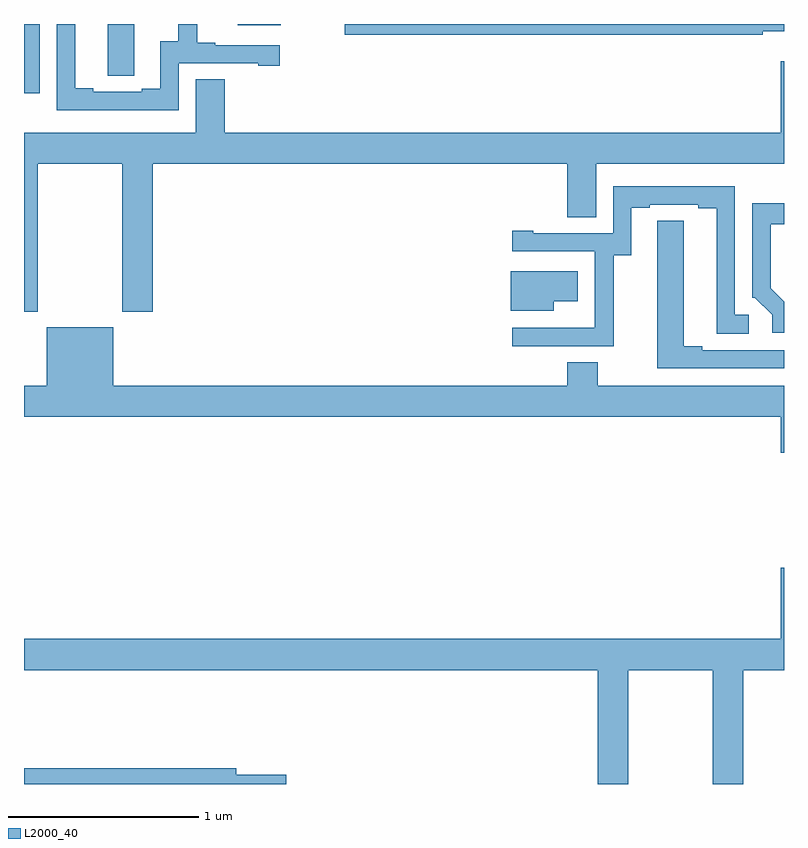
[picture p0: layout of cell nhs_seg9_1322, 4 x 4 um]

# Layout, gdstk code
import gdstk
lib = gdstk.Library(unit=1e-6, precision=1e-09)
def R(c, l, rs):  # rectangles x0, y0, x1, y1
    for r in rs: c.add(gdstk.rectangle(r[:2], r[2:], *l))
def P(c, l, *ps):  # polygons
    for p in ps: c.add(gdstk.Polygon(p, *l))
L2000_40 = (2000, 40)

nhs_seg9_1322 = lib.new_cell('nhs_seg9_1322')
R(nhs_seg9_1322, L2000_40, [(185,1186.136,185.082,1186.5), (186.125,1186.493,186.352,1186.5)])
P(nhs_seg9_1322, L2000_40, [(188.888,1186.463),(189,1186.463),(189,1186.5),(186.687,1186.5),(186.687,1186.444),(188.888,1186.444)],
  [(185.814,1186.293),(186.233,1186.293),(186.233,1186.281),(186.346,1186.281),(186.346,1186.389),(186.007,1186.389),(186.007,1186.402),(185.912,1186.402),(185.912,1186.5),(185.812,1186.5),(185.812,1186.409),(185.717,1186.409),(185.717,1186.158),(185.621,1186.158),(185.621,1186.143),(185.365,1186.143),(185.365,1186.163),(185.269,1186.163),(185.269,1186.5),(185.172,1186.5),(185.172,1186.047),(185.814,1186.047)],
  [(185.58,1186.336),(185.581,1186.336),(185.581,1186.5),(185.441,1186.5),(185.441,1186.228),(185.58,1186.228)],
  [(185.073,1185.764),(185.518,1185.764),(185.518,1184.985),(185.678,1184.985),(185.678,1185.764),(187.859,1185.764),(187.859,1185.484),(188.011,1185.484),(188.011,1185.764),(189,1185.764),(189,1186.303),(188.984,1186.303),(188.984,1185.928),(186.056,1185.928),(186.056,1186.208),(185.903,1186.208),(185.903,1185.928),(185,1185.928),(185,1184.985),(185.073,1184.985)],
  [(188.103,1185.283),(188.197,1185.283),(188.197,1185.534),(188.293,1185.534),(188.293,1185.549),(188.549,1185.549),(188.549,1185.529),(188.645,1185.529),(188.645,1184.869),(188.815,1184.869),(188.815,1184.97),(188.742,1184.97),(188.742,1185.645),(188.1,1185.645),(188.1,1185.399),(187.681,1185.399),(187.681,1185.412),(187.569,1185.412),(187.569,1185.303),(188.004,1185.303),(188.004,1184.902),(188.003,1184.902),(188.003,1184.901),(187.569,1184.901),(187.569,1184.805),(188.103,1184.805)],
  [(189,1185.039),(188.929,1185.11),(188.929,1185.447),(189,1185.447),(189,1185.557),(188.832,1185.557),(188.832,1185.06),(188.847,1185.06),(188.937,1184.97),(188.937,1184.874),(189,1184.874)],
  [(189,1184.784),(188.569,1184.784),(188.569,1184.804),(188.473,1184.804),(188.473,1185.464),(188.334,1185.464),(188.334,1185.356),(188.333,1185.356),(188.333,1184.688),(189,1184.688)],
  [(187.789,1185.041),(187.915,1185.041),(187.915,1185.199),(187.562,1185.199),(187.562,1184.99),(187.789,1184.99)],
  [(189,1184.596),(188.019,1184.596),(188.019,1184.72),(187.859,1184.72),(187.859,1184.596),(185.47,1184.596),(185.47,1184.905),(185.12,1184.905),(185.12,1184.596),(185,1184.596),(185,1184.432),(188.984,1184.432),(188.984,1184.244),(189,1184.244)],
  [(188.181,1183.1),(188.626,1183.1),(188.626,1182.5),(188.786,1182.5),(188.786,1183.1),(189,1183.1),(189,1183.639),(188.984,1183.639),(188.984,1183.264),(185,1183.264),(185,1183.1),(188.021,1183.1),(188.021,1182.5),(188.181,1182.5)],
  [(186.379,1182.548),(186.118,1182.548),(186.118,1182.584),(185,1182.584),(185,1182.5),(186.379,1182.5)])

lib.write_gds('nhs_seg9_1322.gds')
